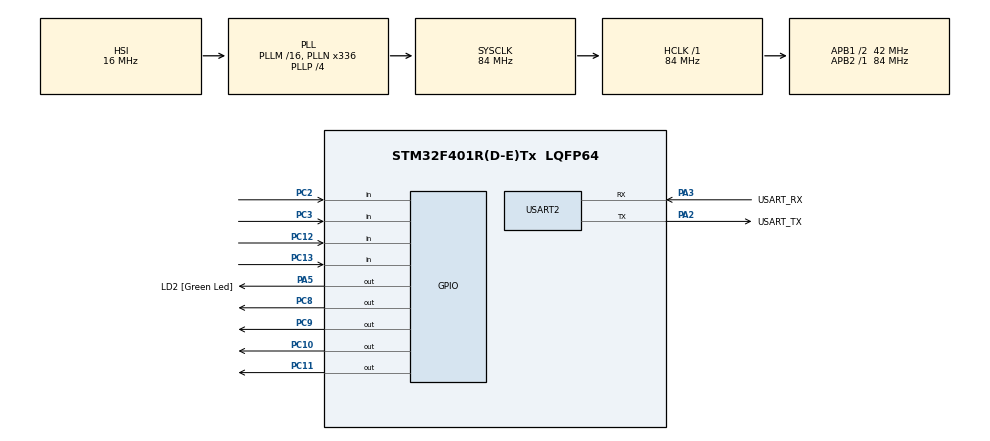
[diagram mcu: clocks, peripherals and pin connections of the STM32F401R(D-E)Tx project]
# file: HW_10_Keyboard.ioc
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Mcu.Family=STM32F4
Mcu.Name=STM32F401R(D-E)Tx
Mcu.Package=LQFP64
NVIC.PriorityGroup=NVIC_PRIORITYGROUP_0
PA13.GPIO_Label=TMS
PA13.Mode=Serial_Wire
PA13.Signal=SYS_JTMS-SWDIO
PA14.GPIO_Label=TCK
PA14.Mode=Serial_Wire
PA14.Signal=SYS_JTCK-SWCLK
PA2.GPIO_Label=USART_TX
PA2.GPIO_Mode=GPIO_MODE_AF_PP
PA2.GPIO_PuPd=GPIO_NOPULL
PA2.GPIO_Speed=GPIO_SPEED_FREQ_LOW
PA2.Mode=Asynchronous
PA2.Signal=USART2_TX
PA3.GPIO_Label=USART_RX
PA3.GPIO_Mode=GPIO_MODE_AF_PP
PA3.GPIO_PuPd=GPIO_NOPULL
PA3.GPIO_Speed=GPIO_SPEED_FREQ_LOW
PA3.Mode=Asynchronous
PA3.Signal=USART2_RX
PA5.GPIO_Label=LD2 [Green Led]
PA5.GPIO_Mode=GPIO_MODE_OUTPUT_PP
PA5.GPIO_PuPd=GPIO_NOPULL
PA5.GPIO_Speed=GPIO_SPEED_FREQ_LOW
PA5.Signal=GPIO_Output
PB3.GPIO_Label=SWO
PB3.Signal=SYS_JTDO-SWO
PC10.Signal=GPIO_Output
PC11.Signal=GPIO_Output
PC12.Signal=GPIO_Input
PC13-ANTI_TAMP.Signal=GPIO_Input
PC14-OSC32_IN.Mode=LSE-External-Oscillator
PC14-OSC32_IN.Signal=RCC_OSC32_IN
PC15-OSC32_OUT.Mode=LSE-External-Oscillator
PC15-OSC32_OUT.Signal=RCC_OSC32_OUT
PC2.Signal=GPIO_Input
PC3.Signal=GPIO_Input
PC8.Signal=GPIO_Output
PC9.Signal=GPIO_Output
PH0\ -\ OSC_IN.Mode=HSE-External-Clock-Source
PH0\ -\ OSC_IN.Signal=RCC_OSC_IN
PH1\ -\ OSC_OUT.Mode=HSE-External-Clock-Source
PH1\ -\ OSC_OUT.Signal=RCC_OSC_OUT
ProjectManager.HeapSize=0x200
ProjectManager.StackSize=0x400
ProjectManager.TargetToolchain=STM32CubeIDE
RCC.48MHZClocksFreq_Value=48000000
RCC.AHBFreq_Value=84000000
RCC.APB1CLKDivider=RCC_HCLK_DIV2
RCC.APB1Freq_Value=42000000
RCC.APB1TimFreq_Value=84000000
RCC.APB2Freq_Value=84000000
RCC.APB2TimFreq_Value=84000000
RCC.CortexFreq_Value=84000000
RCC.HCLKFreq_Value=84000000
RCC.HSE_VALUE=8000000
RCC.HSI_VALUE=16000000
RCC.PLLN=336
RCC.PLLP=RCC_PLLP_DIV4
RCC.PLLQ=7
RCC.SYSCLKFreq_VALUE=84000000
RCC.SYSCLKSource=RCC_SYSCLKSOURCE_PLLCLK
RCC.VCOOutputFreq_Value=336000000
USART2.VirtualMode=VM_ASYNC
board=NUCLEO-F401RE

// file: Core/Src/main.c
/* USER CODE BEGIN Header */
/**
 ******************************************************************************
 * @file           : main.c
 * @brief          : Main program body
 ******************************************************************************
 * @attention
 *
 * Copyright (c) 2022 STMicroelectronics.
 * All rights reserved.
 *
 * This software is licensed under terms that can be found in the LICENSE file
 * in the root directory of this software component.
 * If no LICENSE file comes with this software, it is provided AS-IS.
 *
 ******************************************************************************
 */
/* USER CODE END Header */
#include "main.h"

/* USER CODE BEGIN Includes */
#include <string.h>
#include <stdlib.h>
/* USER CODE END Includes */

UART_HandleTypeDef huart2;

void SystemClock_Config(void);
static void MX_GPIO_Init(void);
static void MX_USART2_UART_Init(void);

/* USER CODE BEGIN 0 */
int column_index = 0;

//keyboard mapping buttons to a character
char map [16] = "FB73EA62D951C840";

int keypress[16];
int ack[16];
/* USER CODE END 0 */

int main(void)
{

	/* MCU Configuration--------------------------------------------------------*/

	/* Reset of all peripherals, Initializes the Flash interface and the Systick. */
	HAL_Init();

	/* Configure the system clock */
	SystemClock_Config();

	/* Initialize all configured peripherals */
	MX_GPIO_Init();
	MX_USART2_UART_Init();
	/* USER CODE BEGIN 2 */
	char *string = (char*) malloc(4 * sizeof(char));
	strcpy(string, "X\r\n");
	/* USER CODE END 2 */

	/* Infinite loop */
	/* USER CODE BEGIN WHILE */
	while (1) {

		HAL_GPIO_WritePin(GPIOC, GPIO_PIN_10, column_index == 0);
		HAL_GPIO_WritePin(GPIOC, GPIO_PIN_9, column_index == 1);
		HAL_GPIO_WritePin(GPIOC, GPIO_PIN_8, column_index == 2);
		HAL_GPIO_WritePin(GPIOC, GPIO_PIN_11, column_index == 3);

		HAL_Delay(50); // waits for the column activation to be completed

		column_index = (column_index + 1) % 4; // iterates from 0 to 4 in loop

		// reads every button press
		keypress[4*column_index] = !HAL_GPIO_ReadPin(GPIOC, GPIO_PIN_3);
		keypress[4*column_index+1] = !HAL_GPIO_ReadPin(GPIOC, GPIO_PIN_2);
		keypress[4*column_index+2] = !HAL_GPIO_ReadPin(GPIOC, GPIO_PIN_13);
		keypress[4*column_index+3] = !HAL_GPIO_ReadPin(GPIOC, GPIO_PIN_12);

		for (int i=0; i<16; i++) {
			if (keypress[i]) { // if the corresponding button was pressed
				if (!ack[i]) {
					// copies character corresponding to the pressed button in the string
					string[0] = map[i];
					// prints string containing the pressed character on terminal
					HAL_UART_Transmit(&huart2, (uint8_t*) string, sizeof(string), 10);
					ack[i] = 1;
				}
			} else {
				ack [i] = 0;
			}
		}
		/* USER CODE END WHILE */

	}
}

void SystemClock_Config(void)
{
	RCC_OscInitTypeDef RCC_OscInitStruct = {0};
	RCC_ClkInitTypeDef RCC_ClkInitStruct = {0};

	/** Configure the main internal regulator output voltage
	 */
	__HAL_RCC_PWR_CLK_ENABLE();
	__HAL_PWR_VOLTAGESCALING_CONFIG(PWR_REGULATOR_VOLTAGE_SCALE2);

	/** Initializes the RCC Oscillators according to the specified parameters
	 * in the RCC_OscInitTypeDef structure.
	 */
	RCC_OscInitStruct.OscillatorType = RCC_OSCILLATORTYPE_HSI;
	RCC_OscInitStruct.HSIState = RCC_HSI_ON;
	RCC_OscInitStruct.HSICalibrationValue = RCC_HSICALIBRATION_DEFAULT;
	RCC_OscInitStruct.PLL.PLLState = RCC_PLL_ON;
	RCC_OscInitStruct.PLL.PLLSource = RCC_PLLSOURCE_HSI;
	RCC_OscInitStruct.PLL.PLLM = 16;
	RCC_OscInitStruct.PLL.PLLN = 336;
	RCC_OscInitStruct.PLL.PLLP = RCC_PLLP_DIV4;
	RCC_OscInitStruct.PLL.PLLQ = 7;
	if (HAL_RCC_OscConfig(&RCC_OscInitStruct) != HAL_OK)
	{
		Error_Handler();
	}

	/** Initializes the CPU, AHB and APB buses clocks
	 */
	RCC_ClkInitStruct.ClockType = RCC_CLOCKTYPE_HCLK|RCC_CLOCKTYPE_SYSCLK
			|RCC_CLOCKTYPE_PCLK1|RCC_CLOCKTYPE_PCLK2;
	RCC_ClkInitStruct.SYSCLKSource = RCC_SYSCLKSOURCE_PLLCLK;
	RCC_ClkInitStruct.AHBCLKDivider = RCC_SYSCLK_DIV1;
	RCC_ClkInitStruct.APB1CLKDivider = RCC_HCLK_DIV2;
	RCC_ClkInitStruct.APB2CLKDivider = RCC_HCLK_DIV1;

	if (HAL_RCC_ClockConfig(&RCC_ClkInitStruct, FLASH_LATENCY_2) != HAL_OK)
	{
		Error_Handler();
	}
}

static void MX_USART2_UART_Init(void)
{

	huart2.Instance = USART2;
	huart2.Init.BaudRate = 115200;
	huart2.Init.WordLength = UART_WORDLENGTH_8B;
	huart2.Init.StopBits = UART_STOPBITS_1;
	huart2.Init.Parity = UART_PARITY_NONE;
	huart2.Init.Mode = UART_MODE_TX_RX;
	huart2.Init.HwFlowCtl = UART_HWCONTROL_NONE;
	huart2.Init.OverSampling = UART_OVERSAMPLING_16;
	if (HAL_UART_Init(&huart2) != HAL_OK)
	{
		Error_Handler();
	}

}

static void MX_GPIO_Init(void)
{
	GPIO_InitTypeDef GPIO_InitStruct = {0};

	/* GPIO Ports Clock Enable */
	__HAL_RCC_GPIOC_CLK_ENABLE();
	__HAL_RCC_GPIOH_CLK_ENABLE();
	__HAL_RCC_GPIOA_CLK_ENABLE();
	__HAL_RCC_GPIOB_CLK_ENABLE();

	/*Configure GPIO pin Output Level */
	HAL_GPIO_WritePin(LD2_GPIO_Port, LD2_Pin, GPIO_PIN_RESET);

	/*Configure GPIO pin Output Level */
	HAL_GPIO_WritePin(GPIOC, GPIO_PIN_8|GPIO_PIN_9|GPIO_PIN_10|GPIO_PIN_11, GPIO_PIN_RESET);

	/*Configure GPIO pins : PC13 PC2 PC3 PC12 */
	GPIO_InitStruct.Pin = GPIO_PIN_13|GPIO_PIN_2|GPIO_PIN_3|GPIO_PIN_12;
	GPIO_InitStruct.Mode = GPIO_MODE_INPUT;
	GPIO_InitStruct.Pull = GPIO_NOPULL;
	HAL_GPIO_Init(GPIOC, &GPIO_InitStruct);

	/*Configure GPIO pin : LD2_Pin */
	GPIO_InitStruct.Pin = LD2_Pin;
	GPIO_InitStruct.Mode = GPIO_MODE_OUTPUT_PP;
	GPIO_InitStruct.Pull = GPIO_NOPULL;
	GPIO_InitStruct.Speed = GPIO_SPEED_FREQ_LOW;
	HAL_GPIO_Init(LD2_GPIO_Port, &GPIO_InitStruct);

	/*Configure GPIO pins : PC8 PC9 PC10 PC11 */
	GPIO_InitStruct.Pin = GPIO_PIN_8|GPIO_PIN_9|GPIO_PIN_10|GPIO_PIN_11;
	GPIO_InitStruct.Mode = GPIO_MODE_OUTPUT_PP;
	GPIO_InitStruct.Pull = GPIO_NOPULL;
	GPIO_InitStruct.Speed = GPIO_SPEED_FREQ_LOW;
	HAL_GPIO_Init(GPIOC, &GPIO_InitStruct);

}

void Error_Handler(void)
{
	__disable_irq();
	while (1)
	{
	}
}
